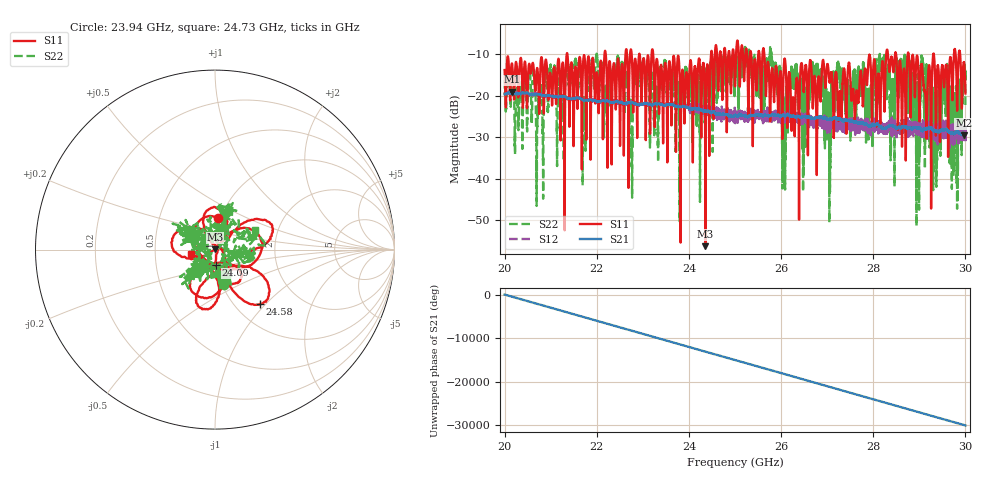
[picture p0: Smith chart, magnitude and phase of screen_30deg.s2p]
#  HZ  S  RI  R  50.00
! Rohde & Schwarz ZVA40 4Ports - Version 3.90 - 1145.1110k42 SN: 100403
! Date: 2023-09-06 07:03:39
! Measurements: S11 S21 S12 S22
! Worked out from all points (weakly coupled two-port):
!   8001 points, 20 GHz to 30 GHz, reference 50 ohm
!   highest |S21| = -19.07 dB at 20.16 GHz (marker M1); lowest = -29.5 dB at 29.97 GHz (marker M2)
!   lowest |S11| = -56.3 dB at 24.36 GHz (marker M3), VSWR 1.00, Z = 50 + j0.152 ohm
!   |S11| at or under -10 dB: start of sweep to 21.35 GHz; 23.22 GHz to 24.48 GHz (1.256 GHz wide, 5.26 % of centre); 25.64 GHz to 28.28 GHz (2.647 GHz wide, 9.82 % of centre)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
!   |S22| runs from -51.4 to -8.0 dB; largest |S21 - S12| = 0.05
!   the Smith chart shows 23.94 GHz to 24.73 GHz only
!   S11 on the Smith chart (normalised r, x): 23.94 GHz: 0.97, +0.35; 24.09 GHz: 0.99, -0.17; 24.58 GHz: 1.30, -0.93; 24.73 GHz: 0.77, -0.04
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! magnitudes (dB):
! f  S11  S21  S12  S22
! 20 GHz  -13.8  -19.7  -19.7  -16.3
! 20.16 GHz  -12.3  -19.1  -19.0  -16.9
! 21.67 GHz  -20.4  -20.8  -20.8  -17.5
! 23.33 GHz  -15.7  -21.9  -21.8  -26.1
! 23.94 GHz  -15.0  -22.8  -22.7  -13.8
! 24.09 GHz  -21.4  -23.3  -22.4  -22.7
! 24.36 GHz  -56.3  -23.6  -23.6  -20.6
! 24.58 GHz  -8.1  -24.4  -24.0  -14.1
! 24.73 GHz  -17.5  -24.5  -24.1  -12.2
! 25 GHz  -17.7  -24.8  -24.6  -16.7
! 25.78 GHz  -16.2  -24.8  -24.3  -9.6
! 26.06 GHz  -13.5  -24.6  -25.3  -23.8
! 26.24 GHz  -22.4  -25.0  -24.8  -14.0
! 26.5 GHz  -17.7  -25.0  -25.5  -21.3
! 26.67 GHz  -15.7  -25.4  -25.7  -15.3
! 27.04 GHz  -14.9  -25.8  -26.1  -20.5
! 27.24 GHz  -25.6  -25.7  -25.9  -12.1
! 28.33 GHz  -12.1  -27.5  -26.6  -14.6
! 29.06 GHz  -13.1  -28.3  -27.8  -13.1
! 29.34 GHz  -14.1  -28.4  -28.3  -24.5
! 29.97 GHz  -11.9  -29.5  -27.9  -13.1
! 30 GHz  -19.5  -29.3  -30.4  -22.3
